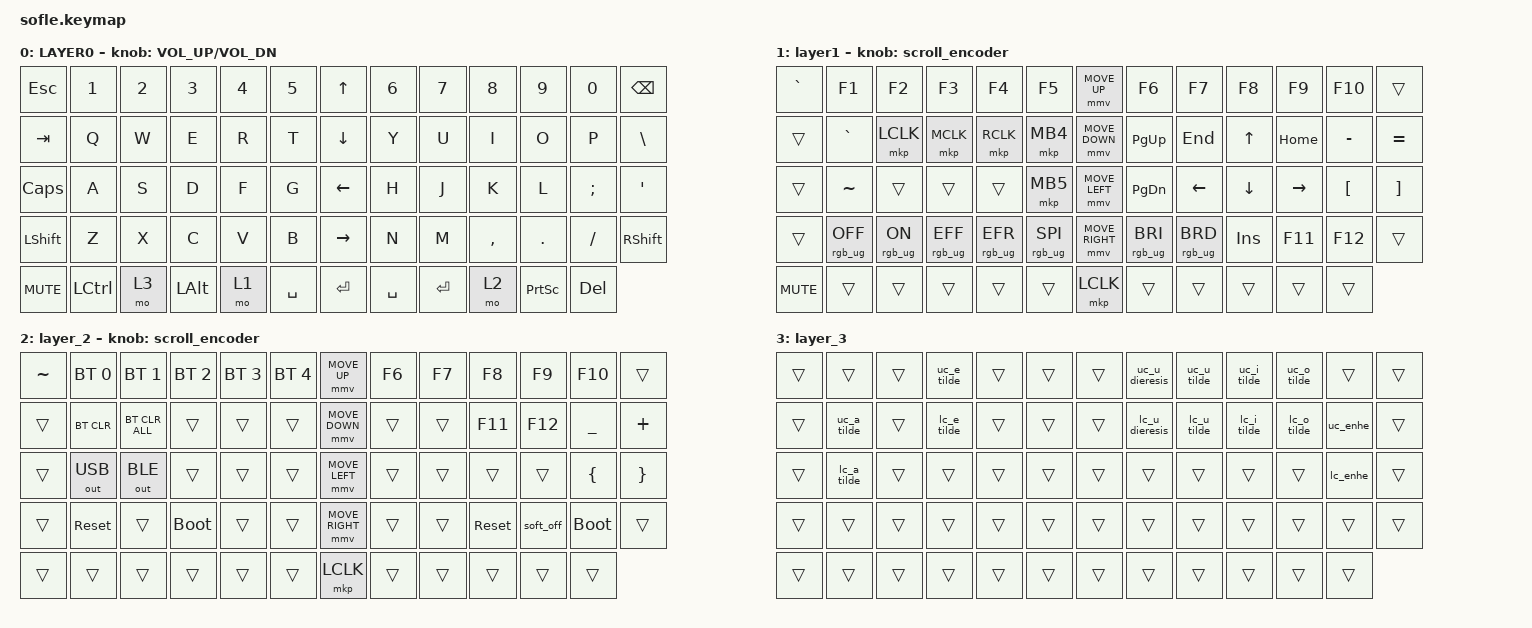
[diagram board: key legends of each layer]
#include <behaviors/mouse_keys.dtsi>
#include <behaviors.dtsi>
#include <dt-bindings/zmk/bt.h>
#include <dt-bindings/zmk/keys.h>
#include <dt-bindings/zmk/mouse.h>
#include <dt-bindings/zmk/outputs.h>
#include <dt-bindings/zmk/rgb.h>

#define ZMK_MOUSE_DEFAULT_MOVE_VAL 1200  // 600
#define ZMK_MOUSE_DEFAULT_SCRL_VAL 20    // 10
#define U_MS_U &mmv MOVE_UP
#define U_MS_D &mmv MOVE_DOWN
#define U_MS_L &mmv MOVE_LEFT
#define U_MS_R &mmv MOVE_RIGHT
#define ZMK_MOUSE_DEFAULT_MOVE_VAL 1200  //  600
#define ZMK_MOUSE_DEFAULT_SCRL_VAL 20    // 10

/ {
    behaviors {
        mmv {
            acceleration-exponent = <1>;      // 1
            time-to-max-speed-ms = <900>;    // 40
            delay-ms = <0>;                   // 0
        };

        msc {
            acceleration-exponent = <1>;      // 0
            time-to-max-speed-ms = <400>;      // 500
            delay-ms = <0>;                   //   10
        };
    };

    scroll_encoder: scroll_encoder {
        compatible = "zmk,behavior-sensor-rotate";
        #sensor-binding-cells = <0>;
        bindings = <&msc SCRL_DOWN>, <&msc SCRL_UP>;

        tap-ms = <30>;
    };

    macros {
        lc_a_tilde: lc_a_tilde {
            compatible = "zmk,behavior-macro";
            #binding-cells = <0>;
            bindings =
                <&macro_press>,
                <&kp LCTRL &kp LEFT_SHIFT &kp U>,
                <&macro_release>,
                <&kp LCTRL &kp LEFT_SHIFT &kp U>,
                <&macro_tap>,
                <&kp N0 &kp N0 &kp E &kp N1 &kp RET>;

            label = "LC_A_TILDE";
        };

        lc_e_tilde: lc_e_tilde {
            compatible = "zmk,behavior-macro";
            #binding-cells = <0>;
            bindings =
                <&macro_press>,
                <&kp LCTRL &kp LEFT_SHIFT &kp U>,
                <&macro_release>,
                <&kp LCTRL &kp LEFT_SHIFT &kp U>,
                <&macro_tap>,
                <&kp N0 &kp N0 &kp E &kp N9 &kp RET>;

            label = "LC_E_TILDE";
        };

        lc_i_tilde: lc_i_tilde {
            compatible = "zmk,behavior-macro";
            #binding-cells = <0>;
            bindings =
                <&macro_press>,
                <&kp LCTRL &kp LEFT_SHIFT &kp U>,
                <&macro_release>,
                <&kp LCTRL &kp LEFT_SHIFT &kp U>,
                <&macro_tap>,
                <&kp N0 &kp N0 &kp E &kp D &kp RET>;

            label = "LC_I_TILDE";
        };

        lc_o_tilde: lc_o_tilde {
            compatible = "zmk,behavior-macro";
            #binding-cells = <0>;
            bindings =
                <&macro_press>,
                <&kp LCTRL &kp LEFT_SHIFT &kp U>,
                <&macro_release>,
                <&kp LCTRL &kp LEFT_SHIFT &kp U>,
                <&macro_tap>,
                <&kp N0 &kp N0 &kp F &kp N3 &kp RET>;

            label = "LC_O_TILDE";
        };

        lc_u_tilde: lc_u_tilde {
            compatible = "zmk,behavior-macro";
            #binding-cells = <0>;
            bindings =
                <&macro_press>,
                <&kp LCTRL &kp LEFT_SHIFT &kp U>,
                <&macro_release>,
                <&kp LCTRL &kp LEFT_SHIFT &kp U>,
                <&macro_tap>,
                <&kp N0 &kp N0 &kp F &kp A &kp RET>;

            label = "LC_U_TILDE";
        };

        lc_enhe: lc_enhe {
            compatible = "zmk,behavior-macro";
            #binding-cells = <0>;
            bindings =
                <&macro_press>,
                <&kp LCTRL &kp LEFT_SHIFT &kp U>,
                <&macro_release>,
                <&kp LCTRL &kp LEFT_SHIFT &kp U>,
                <&macro_tap>,
                <&kp N0 &kp N0 &kp F &kp N1 &kp RET>;

            label = "LC_ENHE";
        };

        lc_u_dieresis: lc_u_dieresis {
            compatible = "zmk,behavior-macro";
            #binding-cells = <0>;
            bindings =
                <&macro_press>,
                <&kp LCTRL &kp LEFT_SHIFT &kp U>,
                <&macro_release>,
                <&kp LCTRL &kp LEFT_SHIFT &kp U>,
                <&macro_tap>,
                <&kp N0 &kp N0 &kp F &kp C &kp RET>;

            label = "LC_U_DIERESIS";
        };

        uc_a_tilde: uc_a_tilde {
            compatible = "zmk,behavior-macro";
            #binding-cells = <0>;
            bindings =
                <&macro_press>,
                <&kp LCTRL &kp LEFT_SHIFT &kp U>,
                <&macro_release>,
                <&kp LCTRL &kp LEFT_SHIFT &kp U>,
                <&macro_tap>,
                <&kp N0 &kp N0 &kp C &kp NUMBER_1 &kp RET>;

            label = "UC_A_TILDE";
        };

        uc_e_tilde: uc_e_tilde {
            compatible = "zmk,behavior-macro";
            #binding-cells = <0>;
            bindings =
                <&macro_press>,
                <&kp LCTRL &kp LEFT_SHIFT &kp U>,
                <&macro_release>,
                <&kp LCTRL &kp LEFT_SHIFT &kp U>,
                <&macro_tap>,
                <&kp N0 &kp N0 &kp C &kp N9 &kp RET>;

            label = "UC_E_TILDE";
        };

        uc_o_tilde: uc_o_tilde {
            compatible = "zmk,behavior-macro";
            #binding-cells = <0>;
            bindings =
                <&macro_press>,
                <&kp LCTRL &kp LEFT_SHIFT &kp U>,
                <&macro_release>,
                <&kp LCTRL &kp LEFT_SHIFT &kp U>,
                <&macro_tap>,
                <&kp N0 &kp N0 &kp D &kp N3 &kp RET>;

            label = "UC_O_TILDE";
        };

        uc_i_tilde: uc_i_tilde {
            compatible = "zmk,behavior-macro";
            #binding-cells = <0>;
            bindings =
                <&macro_press>,
                <&kp LCTRL &kp LEFT_SHIFT &kp U>,
                <&macro_release>,
                <&kp LCTRL &kp LEFT_SHIFT &kp U>,
                <&macro_tap>,
                <&kp N0 &kp N0 &kp C &kp D &kp RET>;

            label = "UC_I_TILDE";
        };

        uc_u_tilde: uc_u_tilde {
            compatible = "zmk,behavior-macro";
            #binding-cells = <0>;
            bindings =
                <&macro_press>,
                <&kp LCTRL &kp LEFT_SHIFT &kp U>,
                <&macro_release>,
                <&kp LCTRL &kp LEFT_SHIFT &kp U>,
                <&macro_tap>,
                <&kp N0 &kp N0 &kp D &kp A &kp RET>;

            label = "UC_U_TILDE";
        };

        uc_enhe: uc_enhe {
            compatible = "zmk,behavior-macro";
            #binding-cells = <0>;
            bindings =
                <&macro_press>,
                <&kp LCTRL &kp LEFT_SHIFT &kp U>,
                <&macro_release>,
                <&kp LCTRL &kp LEFT_SHIFT &kp U>,
                <&macro_tap>,
                <&kp N0 &kp N0 &kp D &kp N1 &kp RET>;

            label = "UC_ENHE";
        };

        uc_u_dieresis: uc_u_dieresis {
            compatible = "zmk,behavior-macro";
            #binding-cells = <0>;
            bindings =
                <&macro_press>,
                <&kp LCTRL &kp LEFT_SHIFT &kp U>,
                <&macro_release>,
                <&kp LCTRL &kp LEFT_SHIFT &kp U>,
                <&macro_tap>,
                <&kp N0 &kp N0 &kp D &kp C &kp RET>;

            label = "UC_U_DIERESIS";
        };
    };

    keymap {
        compatible = "zmk,keymap";

        layer0 {
            bindings = <
&kp ESC     &kp N1     &kp N2  &kp N3        &kp N4  &kp N5       &kp UP_ARROW     &kp N6     &kp N7     &kp N8     &kp N9           &kp N0      &kp BACKSPACE
&kp TAB     &kp Q      &kp W   &kp E         &kp R   &kp T        &kp DOWN_ARROW   &kp Y      &kp U      &kp I      &kp O            &kp P       &kp BSLH
&kp CAPS    &kp A      &kp S   &kp D         &kp F   &kp G        &kp LEFT_ARROW   &kp H      &kp J      &kp K      &kp L            &kp SEMI    &kp APOS
&kp LSHFT   &kp Z      &kp X   &kp C         &kp V   &kp B        &kp RIGHT_ARROW  &kp N      &kp M      &kp COMMA  &kp DOT          &kp FSLH    &kp RSHIFT
&kp C_MUTE  &kp LCTRL  &mo 3   &kp LEFT_ALT  &mo 1   &kp SPACE    &kp ENTER        &kp SPACE  &kp ENTER  &mo 2      &kp PRINTSCREEN  &kp DELETE
            >;

            sensor-bindings = <&inc_dec_kp C_VOLUME_UP C_VOL_DN>;
            display-name = "LAYER0";
        };

        layer_1 {
            bindings = <
&kp GRAVE   &kp F1           &kp F2          &kp F3           &kp F4           &kp F5             &mmv MOVE_UP     &kp F6           &kp F7           &kp F8      &kp F9     &kp F10           &trans
&trans      &kp GRAVE        &mkp LCLK       &mkp MCLK        &mkp RCLK        &mkp MB4           &mmv MOVE_DOWN   &kp PG_UP        &kp END          &kp UP      &kp HOME   &kp MINUS         &kp EQUAL
&trans      &kp TILDE        &trans          &trans           &trans           &mkp MB5           &mmv MOVE_LEFT   &kp PG_DN        &kp LEFT         &kp DOWN    &kp RIGHT  &kp LEFT_BRACKET  &kp RIGHT_BRACKET
&trans      &rgb_ug RGB_OFF  &rgb_ug RGB_ON  &rgb_ug RGB_EFF  &rgb_ug RGB_EFR  &rgb_ug RGB_SPI    &mmv MOVE_RIGHT  &rgb_ug RGB_BRI  &rgb_ug RGB_BRD  &kp INSERT  &kp F11    &kp F12           &trans
&kp C_MUTE  &trans           &trans          &trans           &trans           &trans             &mkp LCLK        &trans           &trans           &trans      &trans     &trans
            >;

            display-name = "layer1";
            sensor-bindings = <&scroll_encoder>;
        };

        layer_2 {
            bindings = <
&kp TILDE  &bt BT_SEL 0  &bt BT_SEL 1    &bt BT_SEL 2  &bt BT_SEL 3  &bt BT_SEL 4    &mmv MOVE_UP     &kp F6  &kp F7  &kp F8      &kp F9     &kp F10      &trans
&trans     &bt BT_CLR    &bt BT_CLR_ALL  &trans        &trans        &trans          &mmv MOVE_DOWN   &trans  &trans  &kp F11     &kp F12    &kp UNDER    &kp PLUS
&trans     &out OUT_USB  &out OUT_BLE    &trans        &trans        &trans          &mmv MOVE_LEFT   &trans  &trans  &trans      &trans     &kp LBRC     &kp RBRC
&trans     &sys_reset    &trans          &bootloader   &trans        &trans          &mmv MOVE_RIGHT  &trans  &trans  &sys_reset  &soft_off  &bootloader  &trans
&trans     &trans        &trans          &trans        &trans        &trans          &mkp LCLK        &trans  &trans  &trans      &trans     &trans
            >;

            sensor-bindings = <&scroll_encoder>;
        };

        layer_3 {
            bindings = <
&trans  &trans       &trans  &uc_e_tilde  &trans  &trans    &trans  &uc_u_dieresis  &uc_u_tilde  &uc_i_tilde  &uc_o_tilde  &trans    &trans
&trans  &uc_a_tilde  &trans  &lc_e_tilde  &trans  &trans    &trans  &lc_u_dieresis  &lc_u_tilde  &lc_i_tilde  &lc_o_tilde  &uc_enhe  &trans
&trans  &lc_a_tilde  &trans  &trans       &trans  &trans    &trans  &trans          &trans       &trans       &trans       &lc_enhe  &trans
&trans  &trans       &trans  &trans       &trans  &trans    &trans  &trans          &trans       &trans       &trans       &trans    &trans
&trans  &trans       &trans  &trans       &trans  &trans    &trans  &trans          &trans       &trans       &trans       &trans
            >;
        };
    };
};
